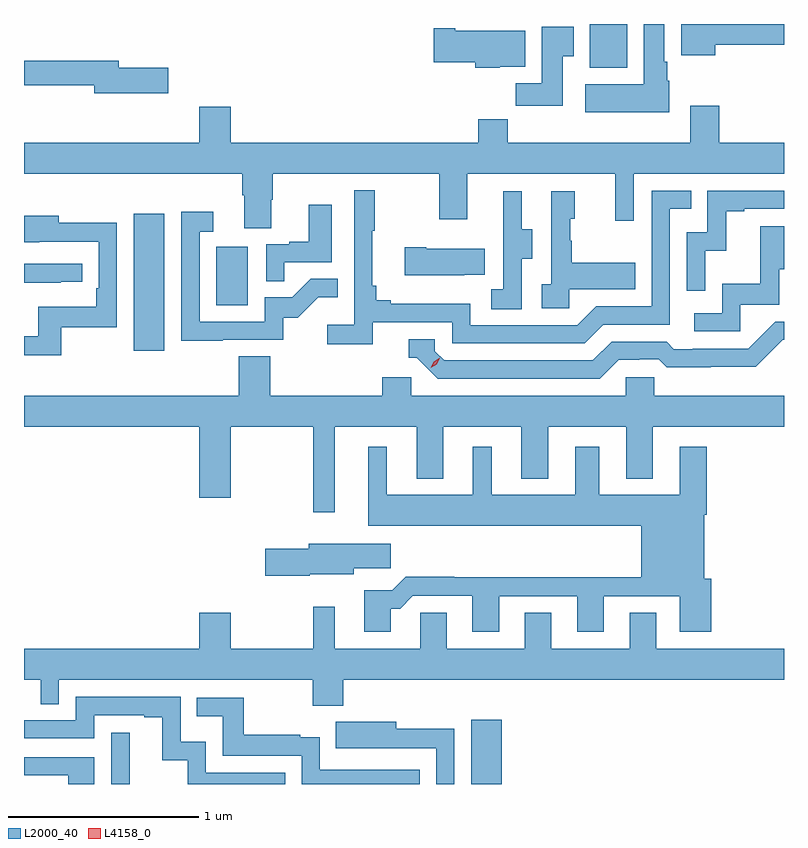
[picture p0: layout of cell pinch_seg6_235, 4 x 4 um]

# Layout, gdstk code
import gdstk
lib = gdstk.Library(unit=1e-6, precision=1e-09)
def R(c, l, rs):  # rectangles x0, y0, x1, y1
    for r in rs: c.add(gdstk.rectangle(r[:2], r[2:], *l))
def P(c, l, *ps):  # polygons
    for p in ps: c.add(gdstk.Polygon(p, *l))
L2000_40 = (2000, 40)
L4158_0 = (4158, 0)

pinch_seg6_235 = lib.new_cell('pinch_seg6_235')
R(pinch_seg6_235, L2000_40, [(1135.572,928.14,1135.669,928.411), (1137.467,928.14,1137.628,928.477), (1135.691,930.42,1135.852,931.141), (1136.126,930.66,1136.29,930.967), (1138.091,931.91,1138.288,932.14)])
P(pinch_seg6_235, L2000_40, [(1138.51,931.842),(1138.498,931.842),(1138.498,931.942),(1138.483,931.942),(1138.483,932.14),(1138.376,932.14),(1138.376,931.822),(1138.067,931.822),(1138.067,931.676),(1138.51,931.676)],
  [(1138.75,932.032),(1139.113,932.032),(1139.113,932.14),(1138.571,932.14),(1138.571,931.976),(1138.75,931.976)],
  [(1137.949,931.969),(1138.006,931.969),(1138.006,932.125),(1137.839,932.125),(1137.839,931.828),(1137.7,931.828),(1137.7,931.71),(1137.949,931.71)],
  [(1137.618,931.916),(1137.751,931.916),(1137.751,932.104),(1137.382,932.104),(1137.382,932.117),(1137.27,932.117),(1137.27,931.939),(1137.488,931.939),(1137.488,931.91),(1137.618,931.91)],
  [(1135.873,931.91),(1135.612,931.91),(1135.612,931.946),(1135.113,931.946),(1135.113,931.818),(1135.484,931.818),(1135.484,931.775),(1135.873,931.775)],
  [(1136.413,931.215),(1136.421,931.215),(1136.421,931.352),(1137.298,931.352),(1137.298,931.113),(1137.445,931.113),(1137.445,931.352),(1138.226,931.352),(1138.226,931.104),(1138.323,931.104),(1138.323,931.352),(1139.113,931.352),(1139.113,931.516),(1138.772,931.516),(1138.772,931.711),(1138.619,931.711),(1138.619,931.516),(1137.659,931.516),(1137.659,931.64),(1137.503,931.64),(1137.503,931.516),(1136.2,931.516),(1136.2,931.705),(1136.036,931.705),(1136.036,931.516),(1135.113,931.516),(1135.113,931.352),(1136.261,931.352),(1136.261,931.24),(1136.273,931.24),(1136.273,931.066),(1136.413,931.066)],
  [(1136.948,930.57),(1137.366,930.57),(1137.366,930.459),(1138.063,930.459),(1138.162,930.558),(1138.512,930.558),(1138.512,931.167),(1138.625,931.167),(1138.625,931.263),(1138.416,931.263),(1138.416,930.654),(1138.125,930.654),(1138.026,930.555),(1137.462,930.555),(1137.462,930.667),(1137.043,930.667),(1137.043,930.686),(1136.966,930.686),(1136.966,930.763),(1136.947,930.763),(1136.947,931.051),(1136.959,931.051),(1136.959,931.264),(1136.85,931.264),(1136.85,930.556),(1136.709,930.556),(1136.709,930.454),(1136.948,930.454)],
  [(1138.698,930.947),(1138.808,930.947),(1138.808,931.155),(1138.903,931.155),(1138.903,931.167),(1139.113,931.167),(1139.113,931.263),(1138.71,931.263),(1138.71,931.044),(1138.602,931.044),(1138.602,930.735),(1138.698,930.735)],
  [(1137.984,930.743),(1138.331,930.743),(1138.331,930.883),(1137.997,930.883),(1137.997,930.998),(1137.987,930.998),(1137.987,931.116),(1138.012,931.116),(1138.012,931.261),(1137.888,931.261),(1137.888,930.77),(1137.837,930.77),(1137.837,930.645),(1137.984,930.645)],
  [(1137.732,930.904),(1137.787,930.904),(1137.787,931.059),(1137.733,931.059),(1137.733,931.261),(1137.635,931.261),(1137.635,931.047),(1137.636,931.047),(1137.636,930.743),(1137.573,930.743),(1137.573,930.64),(1137.732,930.64)],
  [(1136.483,930.885),(1136.734,930.885),(1136.734,931.189),(1136.612,931.189),(1136.612,930.994),(1136.509,930.994),(1136.509,930.981),(1136.388,930.981),(1136.388,930.787),(1136.483,930.787)],
  [(1136.159,930.477),(1136.478,930.477),(1136.478,930.594),(1136.554,930.594),(1136.661,930.701),(1136.765,930.701),(1136.765,930.8),(1136.622,930.8),(1136.524,930.702),(1136.379,930.702),(1136.379,930.573),(1136.037,930.573),(1136.037,931.047),(1136.11,931.047),(1136.11,931.153),(1135.941,931.153),(1135.941,930.472),(1136.159,930.472)],
  [(1135.309,930.543),(1135.602,930.543),(1135.602,931.094),(1135.297,931.094),(1135.297,931.132),(1135.113,931.132),(1135.113,930.992),(1135.193,930.992),(1135.193,930.993),(1135.506,930.993),(1135.506,930.748),(1135.493,930.748),(1135.493,930.652),(1135.188,930.652),(1135.188,930.497),(1135.113,930.497),(1135.113,930.396),(1135.309,930.396)],
  [(1138.884,930.663),(1139.089,930.663),(1139.089,930.849),(1139.113,930.849),(1139.113,931.075),(1138.987,931.075),(1138.987,930.772),(1138.788,930.772),(1138.788,930.618),(1138.641,930.618),(1138.641,930.522),(1138.884,930.522)],
  [(1137.431,930.821),(1137.539,930.821),(1137.539,930.958),(1137.229,930.958),(1137.229,930.966),(1137.117,930.966),(1137.117,930.818),(1137.431,930.818)],
  [(1135.307,930.783),(1135.42,930.783),(1135.42,930.879),(1135.113,930.879),(1135.113,930.778),(1135.307,930.778)],
  [(1138.243,930.372),(1138.35,930.372),(1138.35,930.375),(1138.453,930.375),(1138.495,930.333),(1138.728,930.333),(1138.728,930.335),(1138.964,930.335),(1139.106,930.477),(1139.113,930.477),(1139.113,930.573),(1139.067,930.573),(1138.926,930.432),(1138.633,930.432),(1138.633,930.429),(1138.534,930.429),(1138.495,930.468),(1138.206,930.468),(1138.107,930.369),(1137.324,930.369),(1137.276,930.417),(1137.276,930.48),(1137.137,930.48),(1137.137,930.384),(1137.18,930.384),(1137.291,930.273),(1138.144,930.273)],
  [(1136.749,930.02),(1137.179,930.02),(1137.179,929.747),(1137.319,929.747),(1137.319,930.02),(1137.731,930.02),(1137.731,929.747),(1137.871,929.747),(1137.871,930.02),(1138.283,930.02),(1138.283,929.747),(1138.423,929.747),(1138.423,930.02),(1139.113,930.02),(1139.113,930.184),(1138.431,930.184),(1138.431,930.282),(1138.281,930.282),(1138.281,930.184),(1137.15,930.184),(1137.15,930.282),(1136.999,930.282),(1136.999,930.184),(1136.408,930.184),(1136.408,930.392),(1136.243,930.392),(1136.243,930.184),(1135.113,930.184),(1135.113,930.02),(1136.036,930.02),(1136.036,929.646),(1136.2,929.646),(1136.2,930.02),(1136.635,930.02),(1136.635,929.571),(1136.749,929.571)],
  [(1137.043,929.063),(1137.092,929.063),(1137.159,929.13),(1137.473,929.13),(1137.473,928.941),(1137.613,928.941),(1137.613,929.127),(1138.025,929.127),(1138.025,928.941),(1138.165,928.941),(1138.165,929.127),(1138.565,929.127),(1138.565,928.941),(1138.73,928.941),(1138.73,929.22),(1138.693,929.22),(1138.693,929.558),(1138.706,929.558),(1138.706,929.914),(1138.565,929.914),(1138.565,929.662),(1138.141,929.662),(1138.141,929.914),(1138.013,929.914),(1138.013,929.662),(1137.574,929.662),(1137.574,929.914),(1137.476,929.914),(1137.476,929.662),(1137.022,929.662),(1137.022,929.914),(1136.924,929.914),(1136.924,929.498),(1138.361,929.498),(1138.361,929.228),(1137.377,929.228),(1137.377,929.231),(1137.122,929.231),(1137.052,929.161),(1136.903,929.161),(1136.903,928.941),(1137.043,928.941)],
  [(1136.616,929.243),(1136.848,929.243),(1136.848,929.275),(1137.043,929.275),(1137.043,929.404),(1136.612,929.404),(1136.612,929.378),(1136.382,929.378),(1136.382,929.236),(1136.616,929.236)],
  [(1136.792,928.688),(1139.113,928.688),(1139.113,928.852),(1138.441,928.852),(1138.441,929.042),(1138.301,929.042),(1138.301,928.852),(1137.889,928.852),(1137.889,929.042),(1137.749,929.042),(1137.749,928.852),(1137.337,928.852),(1137.337,929.042),(1137.198,929.042),(1137.198,928.852),(1136.749,928.852),(1136.749,929.074),(1136.635,929.074),(1136.635,928.852),(1136.2,928.852),(1136.2,929.041),(1136.036,929.041),(1136.036,928.852),(1135.113,928.852),(1135.113,928.688),(1135.2,928.688),(1135.2,928.561),(1135.296,928.561),(1135.296,928.688),(1136.632,928.688),(1136.632,928.553),(1136.792,928.553)],
  [(1136.489,928.2),(1136.07,928.2),(1136.07,928.363),(1135.938,928.363),(1135.938,928.599),(1135.386,928.599),(1135.386,928.476),(1135.113,928.476),(1135.113,928.38),(1135.482,928.38),(1135.482,928.503),(1135.745,928.503),(1135.745,928.491),(1135.841,928.491),(1135.841,928.265),(1135.974,928.265),(1135.974,928.14),(1136.489,928.14)],
  [(1137.196,928.215),(1136.67,928.215),(1136.67,928.387),(1136.567,928.387),(1136.567,928.399),(1136.269,928.399),(1136.269,928.593),(1136.023,928.593),(1136.023,928.496),(1136.158,928.496),(1136.158,928.29),(1136.574,928.29),(1136.574,928.14),(1137.196,928.14)],
  [(1137.378,928.43),(1137.073,928.43),(1137.073,928.468),(1136.755,928.468),(1136.755,928.328),(1136.969,928.328),(1136.969,928.329),(1137.282,928.329),(1137.282,928.14),(1137.378,928.14)],
  [(1135.482,928.281),(1135.113,928.281),(1135.113,928.185),(1135.345,928.185),(1135.345,928.14),(1135.482,928.14)])
P(pinch_seg6_235, L4158_0, [(1137.254,930.33),(1137.254,930.33),(1137.27,930.363),(1137.3,930.383),(1137.3,930.383),(1137.3,930.382),(1137.285,930.35),(1137.255,930.33)])

lib.write_gds('pinch_seg6_235.gds')
